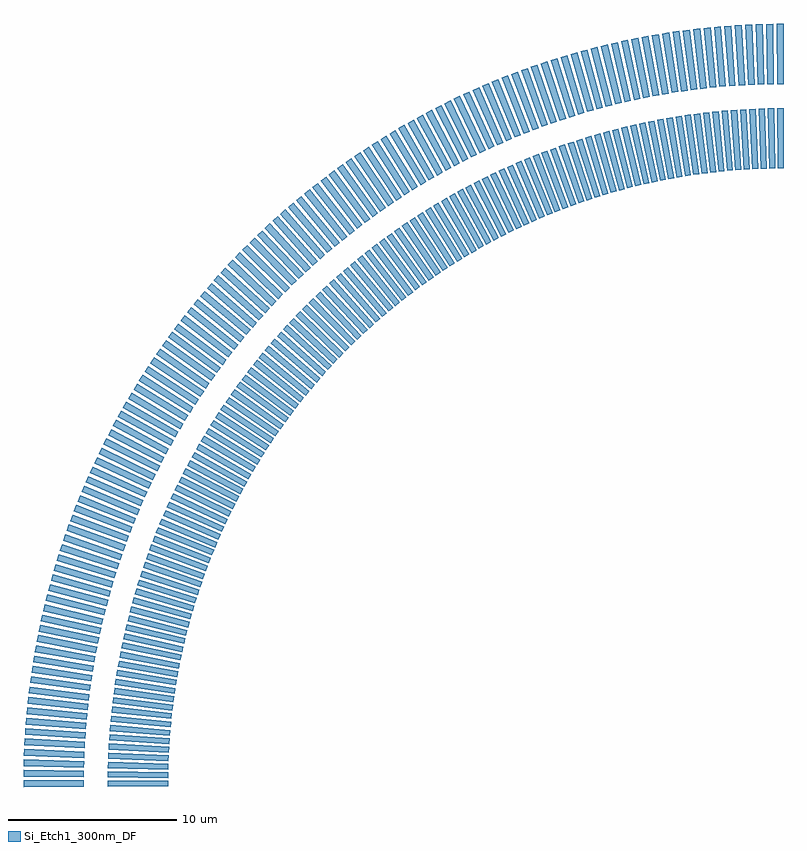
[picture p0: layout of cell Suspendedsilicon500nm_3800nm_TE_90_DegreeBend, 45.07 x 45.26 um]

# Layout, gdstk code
import gdstk
lib = gdstk.Library(unit=1e-6, precision=1e-09)
def P(c, l, *ps):  # polygons
    for p in ps: c.add(gdstk.Polygon(p, *l))
Si_Etch1_300nm_DF = (404, 0)

suspendedsilicon500nm_38 = lib.new_cell('Suspendedsilicon500nm_3800nm_TE_90_DegreeBend')
P(suspendedsilicon500nm_38, Si_Etch1_300nm_DF, [(14.62,20.359),(11.647,22.335),(11.853,22.644),(11.854,22.644),(14.812,20.643)],
  [(8.963,20.7),(5.861,22.469),(6.065,22.823),(9.153,21.031)],
  [(14.9,20.774),(11.955,22.792),(12.165,23.097),(15.096,21.057)],
  [(9.248,21.194),(6.172,23.006),(6.38,23.356),(9.443,21.522)],
  [(15.186,21.186),(12.269,23.245),(12.484,23.546),(15.385,21.466)],
  [(9.541,21.684),(6.489,23.537),(6.701,23.884),(6.702,23.884),(9.739,22.008)],
  [(15.478,21.594),(12.589,23.692),(12.807,23.991),(12.808,23.991),(15.68,21.872)],
  [(9.839,22.169),(6.814,24.064),(7.031,24.409),(10.042,22.492)],
  [(15.775,21.998),(12.915,24.136),(13.138,24.431),(15.981,22.272)],
  [(16.077,22.398),(13.248,24.575),(13.475,24.867),(16.288,22.669)],
  [(22.399,28.806),(20.189,31.61),(20.481,31.838),(22.67,29.018)],
  [(22.794,29.114),(20.624,31.949),(20.918,32.172),(23.068,29.322)],
  [(23.195,29.417),(21.063,32.28),(21.36,32.5),(21.361,32.5),(23.471,29.622)],
  [(23.598,29.714),(21.506,32.607),(21.807,32.823),(23.878,29.914)],
  [(24.006,30.005),(21.954,32.927),(22.258,33.138),(24.289,30.202)],
  [(24.419,30.291),(22.406,33.24),(22.712,33.448),(22.713,33.448),(24.702,30.484)],
  [(22.55,35.052),(20.621,38.056),(20.964,38.274),(22.871,35.257)],
  [(23.032,35.357),(21.143,38.387),(21.489,38.601),(21.49,38.601),(23.356,35.558)],
  [(23.517,35.656),(21.671,38.711),(22.02,38.921),(23.844,35.852)],
  [(24.007,35.948),(22.202,39.028),(22.202,39.029),(22.555,39.233),(24.337,36.139)],
  [(26.534,31.634),(24.73,34.715),(25.05,34.9),(26.832,31.806)],
  [(26.969,31.885),(25.206,34.989),(25.529,35.172),(25.53,35.172),(27.269,32.054)],
  [(27.406,32.13),(25.687,35.259),(25.688,35.259),(26.012,35.435),(27.708,32.294)],
  [(27.848,32.369),(26.171,35.52),(26.171,35.521),(26.499,35.693),(28.151,32.529)],
  [(28.292,32.602),(26.659,35.776),(26.988,35.944),(28.597,32.758)],
  [(28.738,32.828),(27.15,36.025),(27.482,36.189),(29.047,32.98)],
  [(29.189,33.048),(27.644,36.267),(27.644,36.268),(27.979,36.427),(29.5,33.196)],
  [(29.642,33.263),(28.142,36.502),(28.478,36.656),(29.954,33.407)],
  [(30.098,33.471),(28.643,36.731),(28.981,36.88),(30.413,33.61)],
  [(30.558,33.673),(29.147,36.952),(29.147,36.953),(29.488,37.097),(30.874,33.807)],
  [(31.019,33.868),(29.653,37.167),(29.996,37.307),(31.337,33.999)],
  [(31.483,34.058),(30.164,37.375),(30.508,37.509),(31.803,34.183)],
  [(31.951,34.24),(30.676,37.574),(31.022,37.705),(31.023,37.705),(32.272,34.362)],
  [(32.42,34.416),(31.192,37.768),(31.54,37.894),(32.743,34.533)],
  [(32.892,34.585),(31.709,37.954),(31.709,37.955),(32.06,38.076),(32.06,38.075),(33.216,34.698)],
  [(33.366,34.749),(32.23,38.133),(32.581,38.25),(33.692,34.857)],
  [(24.834,30.572),(22.862,33.548),(22.863,33.548),(23.172,33.751),(25.121,30.76)],
  [(33.842,34.906),(32.753,38.306),(33.106,38.417),(34.17,35.009)],
  [(34.321,35.055),(33.278,38.47),(33.632,38.577),(33.633,38.577),(34.649,35.155)],
  [(25.253,30.846),(23.324,33.849),(23.636,34.048),(25.543,31.03)],
  [(34.801,35.2),(33.806,38.628),(34.162,38.729),(35.131,35.294)],
  [(35.284,35.336),(34.335,38.778),(34.335,38.779),(34.693,38.875),(35.615,35.426)],
  [(25.677,31.115),(23.789,34.144),(24.103,34.338),(24.104,34.338),(25.969,31.296)],
  [(35.767,35.466),(34.867,38.921),(35.225,39.014),(36.1,35.552)],
  [(36.253,35.59),(35.401,39.057),(35.76,39.144),(36.587,35.671)],
  [(26.104,31.377),(24.257,34.432),(24.575,34.623),(26.399,31.554)],
  [(36.741,35.707),(35.936,39.185),(36.296,39.267),(36.297,39.267),(37.076,35.784)],
  [(37.23,35.818),(36.472,39.306),(36.835,39.384),(36.835,39.383),(37.566,35.889)],
  [(37.721,35.921),(37.012,39.419),(37.374,39.492),(37.375,39.492),(38.058,35.987)],
  [(24.501,36.233),(22.738,39.338),(23.093,39.538),(23.094,39.538),(24.833,36.421)],
  [(38.213,36.017),(37.551,39.526),(37.915,39.593),(38.551,36.08)],
  [(38.705,36.108),(38.094,39.624),(38.094,39.625),(38.458,39.686),(39.044,36.165)],
  [(39.2,36.191),(38.636,39.716),(39.001,39.773),(39.54,36.244)],
  [(24.998,36.512),(23.279,39.641),(23.28,39.641),(23.637,39.835),(25.333,36.694)],
  [(39.695,36.266),(39.18,39.8),(39.547,39.852),(39.547,39.851),(40.036,36.315)],
  [(40.193,36.337),(39.726,39.875),(40.092,39.923),(40.533,36.38)],
  [(40.69,36.399),(40.271,39.945),(40.639,39.987),(41.032,36.438)],
  [(41.188,36.455),(40.819,40.005),(41.186,40.042),(41.53,36.49)],
  [(41.687,36.504),(41.366,40.06),(41.735,40.091),(42.03,36.533)],
  [(25.499,36.784),(23.824,39.935),(23.824,39.936),(24.184,40.125),(25.837,36.961)],
  [(42.187,36.546),(41.914,40.105),(41.915,40.105),(42.284,40.132),(42.285,40.132),(42.529,36.571)],
  [(42.687,36.581),(42.464,40.144),(42.834,40.166),(43.03,36.601)],
  [(43.188,36.61),(43.013,40.175),(43.014,40.175),(43.383,40.191),(43.384,40.191),(43.53,36.625)],
  [(43.688,36.631),(43.564,40.199),(43.934,40.21),(44.032,36.642)],
  [(44.19,36.645),(44.114,40.214),(44.484,40.222),(44.485,40.221),(44.533,36.652)],
  [(44.691,36.653),(44.665,40.223),(45.034,40.224),(45.034,36.654)],
  [(26.005,37.048),(24.372,40.223),(24.735,40.408),(26.344,37.221)],
  [(26.513,37.306),(24.924,40.503),(25.29,40.683),(26.855,37.474)],
  [(27.026,37.556),(25.48,40.774),(25.48,40.775),(25.849,40.95),(27.37,37.72)],
  [(27.541,37.8),(26.041,41.038),(26.411,41.208),(27.887,37.959)],
  [(28.059,38.037),(26.604,41.295),(26.977,41.46),(28.408,38.19)],
  [(28.582,38.266),(27.171,41.544),(27.545,41.704),(27.546,41.704),(28.932,38.415)],
  [(29.107,38.488),(27.741,41.785),(28.118,41.94),(29.46,38.633)],
  [(29.634,38.703),(28.315,42.019),(28.694,42.168),(29.989,38.842)],
  [(30.166,38.911),(28.892,42.244),(29.272,42.388),(29.273,42.388),(30.522,39.046)],
  [(30.699,39.111),(29.471,42.462),(29.854,42.601),(31.058,39.241)],
  [(31.237,39.304),(30.054,42.671),(30.054,42.672),(30.439,42.805),(30.439,42.804),(31.596,39.428)],
  [(31.775,39.49),(30.64,42.873),(31.026,43.001),(32.137,39.609)],
  [(32.316,39.667),(31.228,43.066),(31.617,43.189),(32.68,39.782)],
  [(32.861,39.839),(31.818,43.251),(32.208,43.369),(32.209,43.369),(33.226,39.947)],
  [(33.407,40.001),(32.412,43.429),(32.804,43.541),(33.773,40.106)],
  [(33.956,40.157),(33.008,43.597),(33.008,43.598),(33.401,43.705),(34.323,40.256)],
  [(34.506,40.305),(33.605,43.758),(34,43.86),(34.875,40.4)],
  [(35.058,40.446),(34.206,43.911),(34.602,44.007),(35.429,40.535)],
  [(35.613,40.578),(34.808,44.055),(35.205,44.146),(35.206,44.146),(35.985,40.663)],
  [(36.169,40.704),(35.412,44.191),(35.811,44.277),(35.811,44.276),(36.542,40.783)],
  [(36.728,40.821),(36.018,44.318),(36.417,44.398),(36.418,44.398),(37.101,40.896)],
  [(37.287,40.93),(36.626,44.438),(37.026,44.512),(37.662,40.999)],
  [(37.848,41.033),(37.235,44.549),(37.235,44.55),(37.637,44.617),(38.223,41.096)],
  [(38.41,41.127),(37.846,44.652),(38.248,44.715),(38.786,41.186)],
  [(38.973,41.213),(38.457,44.746),(38.861,44.804),(38.861,44.803),(39.35,41.267)],
  [(39.538,41.293),(39.071,44.831),(39.475,44.883),(39.916,41.341)],
  [(40.103,41.363),(39.685,44.909),(40.09,44.956),(40.483,41.407)],
  [(40.671,41.427),(40.301,44.978),(40.706,45.018),(41.049,41.465)],
  [(41.238,41.483),(40.917,45.038),(41.323,45.073),(41.618,41.515)],
  [(41.806,41.531),(41.534,45.09),(41.535,45.09),(41.94,45.119),(41.941,45.119),(42.186,41.558)],
  [(42.374,41.57),(42.152,45.134),(42.559,45.157),(42.755,41.593)],
  [(42.944,41.602),(42.77,45.168),(43.177,45.187),(43.178,45.186),(43.324,41.62)],
  [(43.513,41.627),(43.389,45.195),(43.796,45.207),(43.894,41.639)],
  [(44.084,41.643),(44.007,45.212),(44.415,45.22),(44.416,45.219),(44.464,41.651)],
  [(44.653,41.652),(44.627,45.222),(45.034,45.224),(45.034,41.654)],
  [(17.128,30.892),(14.732,33.536),(14.732,33.537),(15.035,33.809),(17.412,31.146)],
  [(17.342,23.954),(14.637,26.283),(14.878,26.562),(14.879,26.562),(17.566,24.213)],
  [(17.554,31.272),(15.194,33.949),(15.5,34.218),(17.84,31.523)],
  [(11.433,24.533),(8.544,26.631),(8.784,26.96),(8.785,26.96),(11.657,24.84)],
  [(17.984,31.646),(15.66,34.356),(15.971,34.62),(18.274,31.893)],
  [(17.671,24.332),(14.998,26.698),(15.244,26.974),(17.899,24.589)],
  [(18.005,24.706),(15.366,27.108),(15.615,27.381),(18.237,24.959)],
  [(18.418,32.015),(16.133,34.756),(16.133,34.757),(16.447,35.016),(18.712,32.257)],
  [(11.77,24.992),(8.911,27.13),(9.156,27.455),(11.999,25.297)],
  [(18.859,32.377),(16.611,35.15),(16.928,35.405),(16.929,35.405),(19.156,32.616)],
  [(18.346,25.075),(15.739,27.513),(15.991,27.782),(15.992,27.782),(18.58,25.324)],
  [(12.114,25.447),(9.285,27.624),(9.535,27.946),(12.348,25.748)],
  [(19.304,32.733),(17.094,35.537),(17.415,35.788),(19.604,32.968)],
  [(18.69,25.439),(16.117,27.913),(16.374,28.178),(18.928,25.686)],
  [(19.753,33.083),(17.583,35.918),(17.907,36.164),(20.057,33.314)],
  [(12.465,25.896),(9.666,28.112),(9.919,28.43),(9.92,28.43),(12.702,26.194)],
  [(19.039,25.797),(19.039,25.798),(16.501,28.308),(16.5,28.308),(16.762,28.57),(16.762,28.569),(19.282,26.041),(19.283,26.041)],
  [(20.209,33.427),(18.077,36.291),(18.404,36.533),(18.405,36.533),(20.515,33.654)],
  [(12.821,26.341),(10.053,28.595),(10.311,28.91),(13.063,26.636)],
  [(19.395,26.153),(16.89,28.696),(16.89,28.697),(17.155,28.955),(19.639,26.392)],
  [(20.668,33.765),(18.575,36.658),(18.907,36.896),(20.978,33.987)],
  [(19.754,26.502),(17.285,29.08),(17.552,29.335),(20.002,26.739)],
  [(21.131,34.096),(19.079,37.018),(19.414,37.251),(21.445,34.314)],
  [(13.184,26.781),(10.447,29.073),(10.71,29.384),(13.429,27.072)],
  [(20.118,26.847),(17.685,29.459),(17.956,29.71),(20.37,27.08)],
  [(21.601,34.421),(19.588,37.37),(19.925,37.599),(19.926,37.599),(21.915,34.636)],
  [(13.553,27.216),(10.847,29.545),(10.847,29.546),(11.115,29.853),(13.802,27.504)],
  [(20.486,27.187),(18.09,29.831),(18.09,29.832),(18.365,30.079),(20.742,27.416)],
  [(22.073,34.74),(20.101,37.716),(20.102,37.716),(20.442,37.94),(22.391,34.949)],
  [(13.927,27.646),(11.254,30.012),(11.525,30.316),(14.18,27.931)],
  [(20.86,27.521),(18.5,30.199),(18.778,30.442),(21.118,27.747)],
  [(14.307,28.071),(11.668,30.474),(11.943,30.773),(14.565,28.351)],
  [(21.238,27.85),(18.915,30.56),(19.196,30.8),(21.5,28.073)],
  [(21.62,28.174),(19.335,30.916),(19.335,30.917),(19.62,31.152),(21.885,28.393)],
  [(14.694,28.49),(12.087,30.928),(12.087,30.929),(12.367,31.225),(14.955,28.767)],
  [(22.008,28.493),(19.76,31.266),(20.047,31.498),(20.048,31.498),(22.275,28.709)],
  [(15.086,28.904),(12.513,31.378),(12.796,31.671),(15.35,29.178)],
  [(10.144,22.651),(7.146,24.587),(7.368,24.928),(10.352,22.97)],
  [(15.483,29.313),(12.945,31.822),(13.232,32.111),(15.752,29.583)],
  [(16.386,22.793),(13.586,25.008),(13.816,25.298),(13.817,25.298),(16.599,23.061)],
  [(10.457,23.128),(7.484,25.105),(7.711,25.444),(7.712,25.444),(10.67,23.444)],
  [(15.887,29.716),(13.383,32.259),(13.383,32.26),(13.674,32.544),(16.159,29.982)],
  [(16.699,23.185),(13.93,25.438),(14.165,25.724),(16.916,23.45)],
  [(16.295,30.114),(13.827,32.691),(14.121,32.972),(16.571,30.376)],
  [(10.776,23.6),(7.83,25.619),(8.062,25.954),(10.992,23.914)],
  [(16.709,30.505),(14.277,33.117),(14.575,33.393),(16.989,30.764)],
  [(17.017,23.572),(14.281,25.864),(14.519,26.146),(17.239,23.834)],
  [(11.1,24.069),(8.184,26.128),(8.42,26.46),(11.322,24.379)],
  [(12.822,17.346),(9.674,19.028),(9.849,19.353),(12.985,17.648)],
  [(7.395,17.662),(4.158,19.168),(4.332,19.538),(7.558,18.006)],
  [(13.061,17.787),(9.936,19.512),(10.116,19.836),(10.117,19.836),(13.229,18.086)],
  [(7.639,18.176),(4.423,19.728),(4.602,20.095),(7.806,18.519)],
  [(13.306,18.223),(10.205,19.992),(10.389,20.313),(13.478,18.522)],
  [(7.89,18.689),(4.696,20.284),(4.696,20.285),(4.88,20.648),(8.061,19.028)],
  [(13.557,18.658),(10.481,20.469),(10.67,20.787),(13.732,18.953)],
  [(8.148,19.197),(4.976,20.836),(5.164,21.197),(8.324,19.535)],
  [(13.814,19.088),(10.763,20.941),(10.955,21.257),(10.956,21.257),(13.993,19.381)],
  [(14.077,19.516),(11.051,21.41),(11.249,21.723),(14.26,19.806)],
  [(8.412,19.702),(5.264,21.385),(5.457,21.743),(8.593,20.037)],
  [(14.345,19.939),(11.347,21.875),(11.548,22.185),(14.532,20.226)],
  [(8.684,20.204),(5.559,21.929),(5.757,22.285),(5.758,22.285),(8.87,20.536)],
  [(4.965,-0.014),(4.965,0.356),(8.535,0.344),(8.535,0.001)],
  [(-0.035,-0.035),(-0.035,0.372),(3.535,0.361),(3.535,-0.02)],
  [(8.535,0.502),(4.966,0.536),(4.97,0.906),(4.971,0.907),(8.541,0.845)],
  [(3.535,0.55),(-0.033,0.584),(-0.029,0.991),(-0.028,0.992),(3.542,0.93)],
  [(8.543,1.003),(4.974,1.087),(4.984,1.457),(8.553,1.347)],
  [(3.545,1.12),(-0.024,1.203),(-0.013,1.611),(3.555,1.501)],
  [(8.559,1.505),(4.991,1.637),(5.005,2.006),(5.006,2.007),(8.572,1.847)],
  [(3.562,1.69),(-0.006,1.822),(0.01,2.229),(0.011,2.23),(3.577,2.07)],
  [(8.58,2.005),(5.014,2.187),(5.034,2.557),(8.598,2.349)],
  [(3.586,2.259),(0.021,2.441),(0.043,2.848),(3.607,2.64)],
  [(8.607,2.506),(5.046,2.736),(5.07,3.105),(5.071,3.105),(8.631,2.848)],
  [(3.619,2.829),(0.056,3.059),(0.083,3.465),(0.084,3.465),(3.644,3.208)],
  [(8.643,3.006),(5.084,3.286),(5.115,3.655),(8.672,3.349)],
  [(3.659,3.397),(0.099,3.677),(0.133,4.083),(3.69,3.777)],
  [(8.686,3.506),(5.131,3.834),(5.165,4.202),(5.166,4.202),(8.718,3.848)],
  [(3.706,3.966),(0.152,4.293),(0.19,4.699),(0.191,4.699),(3.743,4.344)],
  [(8.735,4.004),(5.184,4.382),(5.225,4.75),(8.771,4.347)],
  [(8.79,4.503),(5.246,4.929),(5.246,4.93),(5.292,5.296),(8.833,4.844)],
  [(3.762,4.533),(0.212,4.91),(0.257,5.315),(3.805,4.912)],
  [(8.853,5.001),(5.315,5.475),(5.365,5.841),(5.365,5.842),(8.901,5.341)],
  [(3.826,5.099),(0.282,5.525),(0.282,5.526),(0.332,5.93),(3.873,5.477)],
  [(8.922,5.497),(5.391,6.021),(5.447,6.386),(8.974,5.837)],
  [(3.898,5.665),(0.36,6.14),(0.415,6.543),(0.415,6.544),(3.949,6.043)],
  [(8.999,5.993),(5.475,6.564),(5.536,6.929),(9.055,6.332)],
  [(3.976,6.229),(0.445,6.753),(0.507,7.156),(4.034,6.606)],
  [(9.082,6.487),(5.566,7.108),(5.632,7.472),(9.144,6.825)],
  [(4.064,6.793),(0.54,7.365),(0.606,7.767),(4.126,7.169)],
  [(9.173,6.98),(5.665,7.648),(5.736,8.012),(9.238,7.318)],
  [(4.158,7.355),(0.642,7.976),(0.715,8.377),(4.226,7.73)],
  [(9.269,7.473),(5.772,8.189),(5.847,8.551),(5.847,8.552),(9.339,7.809)],
  [(4.261,7.916),(0.754,8.584),(0.831,8.985),(4.333,8.291)],
  [(9.373,7.963),(5.885,8.727),(5.965,9.089),(5.966,9.089),(9.448,8.298)],
  [(4.371,8.476),(0.874,9.192),(0.957,9.591),(0.957,9.592),(4.448,8.849)],
  [(9.483,8.452),(6.007,9.265),(6.092,9.624),(9.562,8.787)],
  [(9.599,8.94),(6.135,9.799),(6.134,9.8),(6.226,10.159),(9.683,9.273)],
  [(4.489,9.033),(1.001,9.798),(1.001,9.799),(1.091,10.196),(4.572,9.405)],
  [(9.724,9.425),(6.271,10.333),(6.366,10.691),(9.812,9.758)],
  [(4.614,9.59),(1.138,10.402),(1.232,10.799),(4.702,9.961)],
  [(9.854,9.91),(6.414,10.865),(6.514,11.221),(9.947,10.24)],
  [(4.747,10.145),(1.283,11.004),(1.283,11.005),(1.382,11.399),(1.382,11.4),(4.84,10.513)],
  [(9.991,10.393),(6.565,11.394),(6.669,11.749),(6.67,11.75),(10.089,10.721)],
  [(4.888,10.696),(1.435,11.604),(1.54,11.998),(4.986,11.065)],
  [(10.134,10.872),(6.722,11.922),(6.832,12.275),(10.237,11.201)],
  [(5.036,11.247),(1.596,12.203),(1.707,12.594),(5.139,11.614)],
  [(10.284,11.351),(6.887,12.446),(6.887,12.447),(7.002,12.799),(10.391,11.677)],
  [(5.192,11.796),(1.766,12.798),(1.765,12.798),(1.881,13.189),(1.882,13.189),(5.301,12.16)],
  [(10.441,11.827),(7.06,12.97),(7.179,13.32),(7.179,13.321),(10.552,12.152)],
  [(5.355,12.342),(1.943,13.391),(2.064,13.78),(5.469,12.706)],
  [(10.604,12.301),(7.238,13.491),(7.363,13.839),(10.72,12.625)],
  [(10.775,12.773),(7.425,14.008),(7.554,14.355),(7.555,14.355),(10.894,13.094)],
  [(5.527,12.886),(2.129,13.981),(2.254,14.369),(2.255,14.369),(5.644,13.248)],
  [(10.951,13.243),(7.619,14.524),(7.752,14.868),(11.075,13.563)],
  [(5.704,13.428),(2.323,14.57),(2.454,14.955),(2.454,14.956),(5.827,13.788)],
  [(11.133,13.71),(7.819,15.037),(7.958,15.38),(11.263,14.028)],
  [(5.89,13.966),(2.524,15.156),(2.661,15.54),(6.019,14.325)],
  [(11.323,14.173),(8.027,15.546),(8.17,15.887),(11.456,14.491)],
  [(6.084,14.503),(2.734,15.738),(2.876,16.12),(2.877,16.12),(6.216,14.859)],
  [(11.518,14.635),(8.241,16.053),(8.39,16.392),(11.655,14.95)],
  [(6.284,15.037),(2.952,16.318),(3.099,16.697),(6.421,15.392)],
  [(11.719,15.095),(8.463,16.556),(8.463,16.557),(8.616,16.894),(11.861,15.407)],
  [(6.491,15.568),(3.177,16.895),(3.33,17.273),(6.635,15.921)],
  [(11.928,15.551),(8.691,17.057),(8.849,17.393),(12.073,15.862)],
  [(6.707,16.095),(3.411,17.468),(3.569,17.844),(6.854,16.447)],
  [(12.142,16.004),(8.927,17.555),(9.089,17.888),(12.293,16.313)],
  [(12.363,16.454),(9.169,18.049),(9.335,18.38),(9.336,18.38),(12.517,16.76)],
  [(6.929,16.621),(3.652,18.038),(3.816,18.411),(7.081,16.97)],
  [(12.589,16.901),(9.418,18.54),(9.589,18.868),(12.748,17.206)],
  [(7.159,17.143),(3.902,18.604),(4.069,18.976),(4.07,18.976),(7.315,17.489)])

lib.write_gds('Suspendedsilicon500nm_3800nm_TE_90_DegreeBend.gds')
